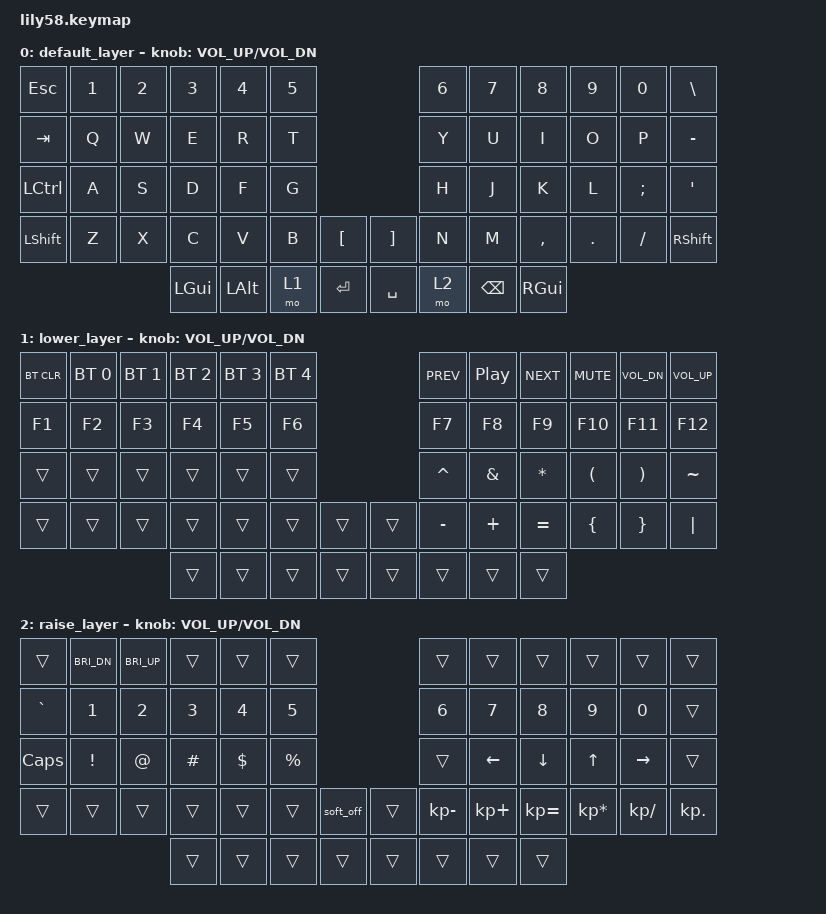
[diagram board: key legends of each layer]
/*
 * Copyright (c) 2020 The ZMK Contributors
 *
 * SPDX-License-Identifier: MIT
 */

#include <behaviors.dtsi>
#include <dt-bindings/zmk/keys.h>
#include <dt-bindings/zmk/bt.h>
#include <dt-bindings/zmk/ext_power.h>
&soft_off {
  hold-time-ms = <2000>; //Only turn off it the key is held for 2 second
    
};

/ {
    keymap {
        compatible = "zmk,keymap";

        default_layer {
// --------------------------------------------------------------------------------------------------------------
// |  ESC  |  1  |  2  |  3   |  4   |  5     |                  |  6    |  7    |  8    |  9   |   0   |   \   |
// |  TAB  |  Q  |  W  |  E   |  R   |  T     |                  |  Y    |  U    |  I    |  O   |   P   |   -   |
// |  CTRL |  A  |  S  |  D   |  F   |  G     |                  |  H    |  J    |  K    |  L   |   ;   |   '   |
// | SHIFT |  Z  |  X  |  C   |  V   |  B     |  "["  |  |  "]"  |  N    |  M    |  ,    |  .   |   /   | SHIFT |
//                     | GUI  | ALT  |  LOWER | ENTER |  | SPACE | RAISE | BSPC  | GUI   |

            bindings = <
&kp ESC   &kp N1 &kp N2 &kp N3   &kp N4   &kp N5                    &kp N6    &kp N7   &kp N8    &kp N9  &kp N0   &kp BSLH
&kp TAB   &kp Q  &kp W  &kp E    &kp R    &kp T                     &kp Y     &kp U    &kp I     &kp O   &kp P    &kp MINUS
&kp LCTRL &kp A  &kp S  &kp D    &kp F    &kp G                     &kp H     &kp J    &kp K     &kp L   &kp SEMI &kp SQT
&kp LSHFT &kp Z  &kp X  &kp C    &kp V    &kp B  &kp LBKT &kp RBKT  &kp N     &kp M    &kp COMMA &kp DOT &kp FSLH &kp RSHFT
                        &kp LGUI &kp LALT &mo 1  &kp RET  &kp SPACE &mo 2 &kp BSPC &kp RGUI
            >;

            sensor-bindings = <&inc_dec_kp C_VOL_UP C_VOL_DN>;
        };

        lower_layer {
// --------------------------------------------------------------------------------------------------------------
// | BTCLR | BT1 | BT2 |  BT3 |  BT4 |  BT5 |                    |  PRV |  P/S  |  NXT  |  MUTE | VDOWN |  VUP  |
// |  F1   |  F2 |  F3 |  F4  |  F5  |  F6  |                    |  F7  |  F8   |  F9   |  F10  |  F11  |  F12  |
// |       |     |     |      |      |      |                    |  ^   |  &    |  *    |  (    |   )   |   ~   |
// |       |     |     |      |      |      |        |  |        |  -   |  +    |  =    |  {    |   }   |  "|"  |
//                     |      |      |      |        |  |        |      |       |       |
            bindings = <
&bt BT_CLR &bt BT_SEL 0 &bt BT_SEL 1 &bt BT_SEL 2 &bt BT_SEL 3 &bt BT_SEL 4               &kp C_PREV &kp C_PP  &kp C_NEXT &kp K_MUTE &kp C_VOL_DN &kp C_VOL_UP
&kp F1     &kp F2       &kp F3       &kp F4       &kp F5       &kp F6                     &kp F7     &kp F8    &kp F9     &kp F10    &kp F11      &kp F12
&trans     &trans       &trans       &trans       &trans       &trans                     &kp CARET  &kp AMPS  &kp ASTRK  &kp LPAR   &kp RPAR     &kp TILDE
&trans     &trans       &trans       &trans       &trans       &trans       &trans &trans &kp MINUS  &kp PLUS  &kp EQUAL  &kp LBRC   &kp RBRC     &kp PIPE
                                     &trans       &trans       &trans       &trans &trans &trans     &trans    &trans
            >;

            sensor-bindings = <&inc_dec_kp C_VOL_UP C_VOL_DN>;
        };

        raise_layer {
// -------------------------------------------------------------------------------------------------------------------
// |       | BRI_DN | BRI_UP |      |      |      |                    |      |       |       |      |       |       |
// |  `    |   1    |   2    |  3   |  4   |  5   |                    |  6   |   7   |   8   |  9   |   0   |       |
// | CAPS  |   !    |   @    |  #   |  $   |  %   |                    |      |   <-  |   v   |  ^   |  ->   |       |
// |       |        |        |      |      |      | SoftOFF |  |       |  -   |   +   |   =   |  *   |   /   |   .   |
//                           |      |      |      |         |  |       |      |       |       |
            bindings = <
&trans    &kp C_BRI_DN &kp C_BRI_UP &trans   &trans     &trans                     &trans       &trans      &trans       &trans          &trans        &trans
&kp GRAVE &kp N1       &kp N2       &kp N3   &kp N4     &kp N5                     &kp N6       &kp N7      &kp N8       &kp N9          &kp N0        &trans
&kp CAPS  &kp EXCL     &kp AT       &kp HASH &kp DOLLAR &kp PRCNT                  &trans       &kp LEFT    &kp DOWN     &kp UP          &kp RIGHT     &trans
&trans    &trans       &trans       &trans   &trans     &trans    &soft_off &trans &kp KP_MINUS &kp KP_PLUS &kp KP_EQUAL &kp KP_MULTIPLY &kp KP_DIVIDE &kp KP_DOT
                                    &trans   &trans     &trans    &trans    &trans &trans    &trans      &trans
            >;

            sensor-bindings = <&inc_dec_kp C_VOL_UP C_VOL_DN>;
        };
    };
};
